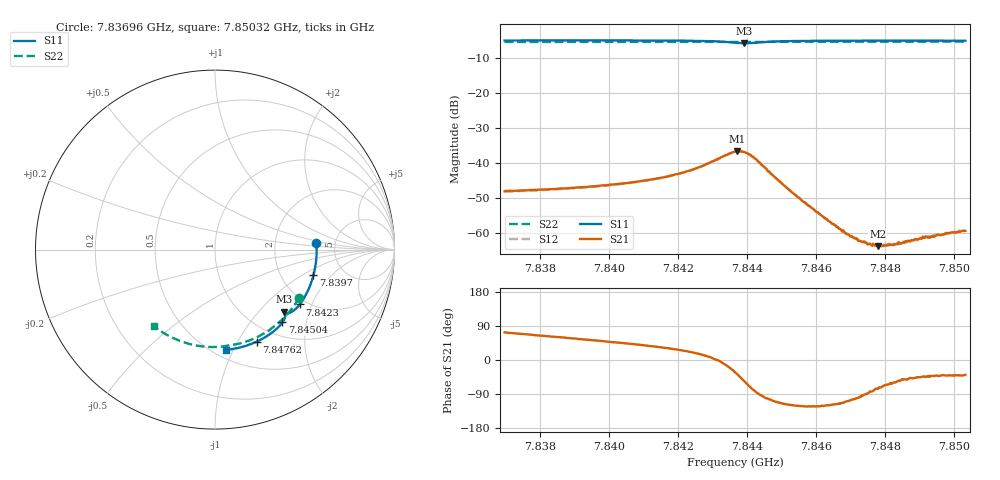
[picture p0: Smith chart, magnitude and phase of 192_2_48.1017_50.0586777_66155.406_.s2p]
#  HZ  S  RI  R  50.00
! Rohde & Schwarz Vector Network Analyzer
! Rohde-Schwarz,ZNB20-2Port,1311601062101988,3.16
! Created: UTC 12/23/2023, 3:53:51 AM
! freq[Hz]  re:S11  im:S11  re:S21  im:S21  re:S12  im:S12  re:S22  im:S22
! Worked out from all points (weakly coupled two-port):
!   401 points, 7.83696 GHz to 7.85032 GHz, reference 50 ohm
!   highest |S21| = -36.62 dB at 7.84371 GHz (marker M1); lowest = -63.9 dB at 7.84778 GHz (marker M2)
!   lowest |S11| = -5.7 dB at 7.84391 GHz (marker M3), VSWR 3.14, Z = 73.5 - j69.2 ohm
!   |S11| at or under -10 dB: nowhere
!   |S22| runs from -5.4 to -5.3 dB; largest |S21 - S12| = 0.00035
!   S11 on the Smith chart (normalised r, x): 7.83696 GHz: 3.56, +0.40; 7.8397 GHz: 3.03, -1.27; 7.8423 GHz: 1.84, -1.64; 7.84504 GHz: 1.25, -1.46; 7.84762 GHz: 0.80, -1.21; 7.85032 GHz: 0.57, -0.94
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7.83696e9  0.5648 0.0385  0.00116 0.00375  0.00122 0.00369  0.4683 -0.2676
7.839198e9  0.5562 -0.11  0.0026 0.00365  0.00256 0.00363  0.3726 -0.3912
7.839699e9  0.5487 -0.1428  0.00299 0.00362  0.00295 0.00358  0.3467 -0.4148
7.840534e9  0.5314 -0.1968  0.00376 0.00354  0.0037 0.00353  0.2999 -0.4501
7.841436e9  0.5057 -0.2532  0.005 0.0034  0.00496 0.00337  0.2454 -0.4823
7.842305e9  0.472 -0.3057  0.00715 0.00287  0.00708 0.00289  0.1895 -0.5069
7.84314e9  0.4237 -0.349  0.0113 -9.24e-05  0.0113 -4.47e-05  0.1332 -0.5238
7.843641e9  0.3885 -0.3526  0.0122 -0.00764  0.0122 -0.00764  0.0996 -0.5298
7.843708e9  0.3857 -0.3506  0.0117 -0.00902  0.0117 -0.0088  0.0954 -0.5306
7.843909e9  0.3838 -0.3455  0.00803 -0.0119  0.00805 -0.012  0.0827 -0.5327
7.844209e9  0.3909 -0.3509  0.00181 -0.0115  0.00172 -0.0115  0.0635 -0.5363
7.845044e9  0.3759 -0.4054  -0.00206 -0.00436  -0.00205 -0.00441  0.00526 -0.5426
7.84588e9  0.3344 -0.449  -0.00119 -0.0019  -0.0012 -0.00189  -0.0537 -0.5408
7.846915e9  0.2759 -0.4899  -0.000298 -0.0009  -0.000331 -0.000895  -0.1255 -0.5296
7.847283e9  0.2541 -0.502  -0.000112 -0.000752  -8.24e-05 -0.000775  -0.1507 -0.5233
7.847617e9  0.2338 -0.512  7.97e-05 -0.000645  9.93e-05 -0.000693  -0.1732 -0.5164
7.847784e9  0.2237 -0.5167  0.000151 -0.000624  0.000192 -0.000648  -0.1843 -0.5126
7.847918e9  0.2153 -0.5201  0.000225 -0.000617  0.000203 -0.000622  -0.193 -0.5095
7.848118e9  0.2029 -0.5252  0.000296 -0.000589  0.000318 -0.000618  -0.206 -0.5045
7.848318e9  0.1903 -0.5298  0.000364 -0.000584  0.00038 -0.00058  -0.2191 -0.4991
7.849555e9  0.1108 -0.5517  0.000691 -0.000637  0.000726 -0.000606  -0.2957 -0.4586
7.850323e9  0.0603 -0.5591  0.000823 -0.000669  0.000825 -0.000677  -0.3397 -0.4275
